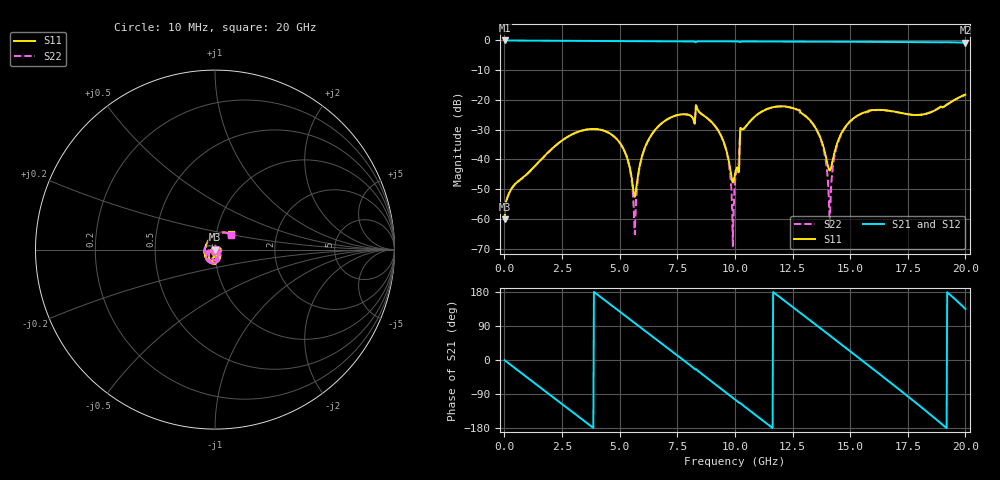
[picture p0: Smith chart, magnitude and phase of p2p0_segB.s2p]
! Stitch-density study - 40 x 12 mm symmetric stripline, cut at x=20 mm
! Case: p2p0_segB
! Sweep: 10 MHz - 20 GHz, 25 MHz step, 4 cores
# GHz S MA R 50.000000
! Terminal data exported
! Port[1] = U1.PAD1.SIG
! Port[2] = U2.PAD1.SIG
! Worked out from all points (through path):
!   801 points, 10 MHz to 20 GHz, reference 50 ohm
!   highest |S21| = -0.01 dB at 10 MHz (marker M1); lowest = -0.8 dB at 20 GHz (marker M2)
!   group delay of S21, straight-line fit = 130 ps
!   lowest |S11| = -60.1 dB at 10 MHz (marker M3), VSWR 1.00, Z = 50.1 + j0.0439 ohm
!   |S11| at or under -10 dB: start of sweep to end of sweep
!   |S22| runs from -69.2 to -18.4 dB; largest |S21 - S12| = 0
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0.01  0.0009846 26.4  0.9991 -0.5  0.9991 -0.5  0.0009846 26.4
1.76  0.01167 -7.5  0.9891 -81.9  0.9891 -81.9  0.01155 -5.1
3.36  0.03052 -67.7  0.983 -156.1  0.983 -156.1  0.0305 -67.0
5.01  0.01897 -137.1  0.9781 127.6  0.9781 127.6  0.01887 -141.0
5.66  0.002349 -78.8  0.9763 97.5  0.9763 97.5  0.0005534 -65.1
6.01  0.01268 -19.8  0.9752 81.2  0.9752 81.2  0.01246 -11.1
6.685  0.03621 -43.3  0.9727 49.9  0.9727 49.9  0.03612 -40.8
8.41  0.06615 -115.7  0.964 -29.2  0.964 -29.2  0.06601 -117.5
9.41  0.02456 -157.1  0.9655 -76.2  0.9655 -76.2  0.02421 -166.3
9.885  0.004355 -117.1  0.9643 -98.4  0.9643 -98.4  0.001397 161.8
10.01  0.00581 -56.4  0.9637 -104.2  0.9637 -104.2  0.004367 -7.2
10.31  0.03206 -28.9  0.9599 -117.5  0.9599 -117.5  0.03237 -23.5
10.86  0.05232 -56.9  0.9607 -143.5  0.9607 -143.5  0.05209 -54.1
12.035  0.07818 -107.3  0.956 161.9  0.956 161.9  0.07792 -109.0
13.36  0.04085 -161.7  0.9548 100.2  0.9548 100.2  0.04033 -171.2
13.835  0.01669 -169.0  0.9543 77.9  0.9543 77.9  0.01542 164.6
14.11  0.006494 -115.5  0.9537 65.0  0.9537 65.0  0.0007195 79.3
14.81  0.03606 -65.6  0.9513 32.1  0.9513 32.1  0.03538 -58.3
16.685  0.06593 -142.1  0.9448 -56.6  0.9448 -56.6  0.06549 -151.0
17.66  0.05636 173.4  0.9423 -103.6  0.9423 -103.6  0.05645 159.5
18.685  0.06689 117.6  0.9372 -154.3  0.9372 -154.3  0.06773 111.2
20  0.1234 45.4  0.9164 134.5  0.9164 134.5  0.1208 43.3
